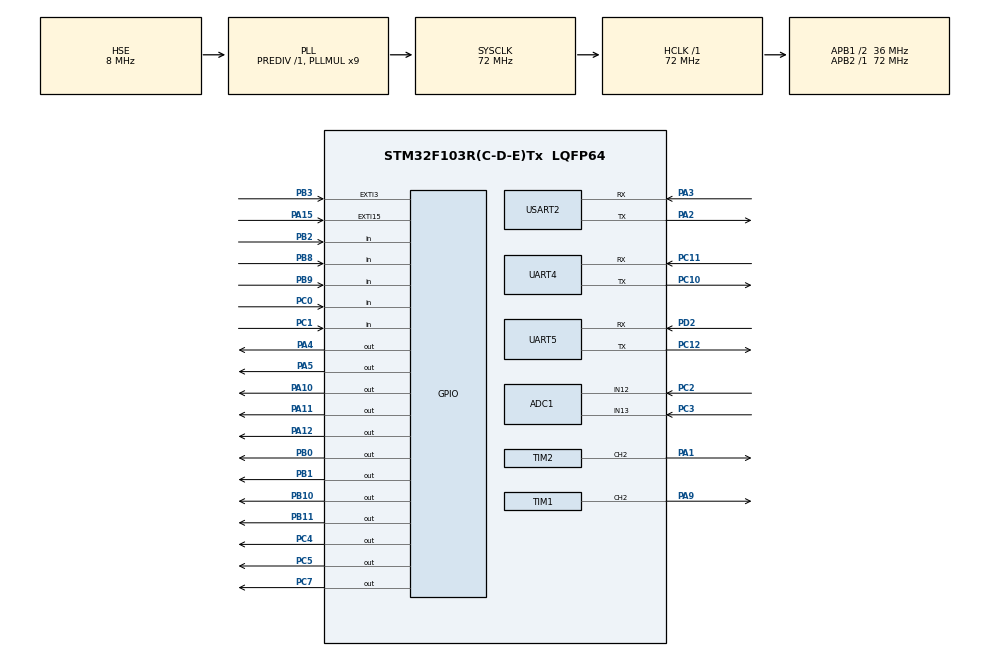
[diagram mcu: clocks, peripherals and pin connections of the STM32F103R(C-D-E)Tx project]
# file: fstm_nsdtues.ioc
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ADC1.Channel-60\#ChannelRegularConversion=ADC_CHANNEL_13
ADC1.Channel-61\#ChannelRegularConversion=ADC_CHANNEL_12
ADC1.ContinuousConvMode=DISABLE
ADC1.DataAlign=ADC_DATAALIGN_RIGHT
ADC1.DiscontinuousConvMode=DISABLE
ADC1.EnableAnalogWatchDog=false
ADC1.EnableRegularConversion=ENABLE
ADC1.ExternalTrigConvEdgeChoice=NONE
ADC1.InjNumberOfConversion=0
ADC1.NbrOfConversion=2
ADC1.NbrOfConversionFlag=1
ADC1.Rank-60\#ChannelRegularConversion=1
ADC1.Rank-61\#ChannelRegularConversion=2
ADC1.SamplingTime-60\#ChannelRegularConversion=ADC_SAMPLETIME_71CYCLES_5
ADC1.SamplingTime-61\#ChannelRegularConversion=ADC_SAMPLETIME_71CYCLES_5
ADC1.ScanConvMode=ADC_SCAN_ENABLE
ADC1.master=1
Dma.ADC1.0.Direction=DMA_PERIPH_TO_MEMORY
Dma.ADC1.0.Instance=DMA1_Channel1
Dma.ADC1.0.MemDataAlignment=DMA_MDATAALIGN_WORD
Dma.ADC1.0.MemInc=DMA_MINC_ENABLE
Dma.ADC1.0.Mode=DMA_NORMAL
Dma.ADC1.0.PeriphDataAlignment=DMA_PDATAALIGN_WORD
Dma.ADC1.0.PeriphInc=DMA_PINC_DISABLE
Dma.ADC1.0.Priority=DMA_PRIORITY_HIGH
Dma.Request0=ADC1
Mcu.Family=STM32F1
Mcu.Name=STM32F103R(C-D-E)Tx
Mcu.Package=LQFP64
NVIC.DMA1_Channel1_IRQn=true\:0\:0\:false\:false\:true
NVIC.EXTI15_10_IRQn=true\:0\:0\:false\:false\:true
NVIC.EXTI3_IRQn=true\:0\:0\:false\:false\:true
NVIC.PriorityGroup=NVIC_PRIORITYGROUP_4
NVIC.TIM2_IRQn=true\:0\:0\:false\:false\:true
NVIC.UART4_IRQn=true\:0\:0\:false\:false\:true
NVIC.UART5_IRQn=true\:0\:0\:false\:false\:true
NVIC.USART2_IRQn=true\:0\:0\:false\:false\:true
PA1.Signal=S_TIM2_CH2
PA10.Signal=GPIO_Output
PA11.Signal=GPIO_Output
PA12.Signal=GPIO_Output
PA13.Mode=Serial_Wire
PA13.Signal=SYS_JTMS-SWDIO
PA14.Mode=Serial_Wire
PA14.Signal=SYS_JTCK-SWCLK
PA15.GPIO_ModeDefaultEXTI=GPIO_MODE_IT_FALLING
PA15.Signal=GPXTI15
PA2.Mode=Asynchronous
PA2.Signal=USART2_TX
PA3.Mode=Asynchronous
PA3.Signal=USART2_RX
PA4.Signal=GPIO_Output
PA5.Signal=GPIO_Output
PA9.Signal=S_TIM1_CH2
PB0.Signal=GPIO_Output
PB1.Signal=GPIO_Output
PB10.Signal=GPIO_Output
PB11.Signal=GPIO_Output
PB2.Signal=GPIO_Input
PB3.GPIO_ModeDefaultEXTI=GPIO_MODE_IT_FALLING
PB3.Signal=GPXTI3
PB8.GPIO_PuPd=GPIO_PULLUP
PB8.Signal=GPIO_Input
PB9.GPIO_PuPd=GPIO_PULLUP
PB9.Signal=GPIO_Input
PC0.Signal=GPIO_Input
PC1.Signal=GPIO_Input
PC10.Mode=Asynchronous
PC10.Signal=UART4_TX
PC11.Mode=Asynchronous
PC11.Signal=UART4_RX
PC12.Mode=Asynchronous
PC12.Signal=UART5_TX
PC2.Signal=ADCx_IN12
PC3.Signal=ADCx_IN13
PC4.Signal=GPIO_Output
PC5.Signal=GPIO_Output
PC7.Signal=GPIO_Output
PD0-OSC_IN.Mode=HSE-External-Oscillator
PD0-OSC_IN.Signal=RCC_OSC_IN
PD1-OSC_OUT.Mode=HSE-External-Oscillator
PD1-OSC_OUT.Signal=RCC_OSC_OUT
PD2.Mode=Asynchronous
PD2.Signal=UART5_RX
ProjectManager.HeapSize=0x200
ProjectManager.StackSize=0x400
ProjectManager.TargetToolchain=MDK-ARM V5
RCC.ADCPresc=RCC_ADCPCLK2_DIV6
RCC.AHBFreq_Value=72000000
RCC.APB1CLKDivider=RCC_HCLK_DIV2
RCC.APB1Freq_Value=36000000
RCC.APB1TimFreq_Value=72000000
RCC.APB2Freq_Value=72000000
RCC.APB2TimFreq_Value=72000000
RCC.HCLKFreq_Value=72000000
RCC.HSIState=RCC_HSI_ON
RCC.PLLMUL=RCC_PLL_MUL9
RCC.PLLSourceVirtual=RCC_PLLSOURCE_HSE
RCC.SYSCLKFreq_VALUE=72000000
RCC.SYSCLKSource=RCC_SYSCLKSOURCE_PLLCLK
RCC.USBFreq_Value=72000000
SH.ADCx_IN12.0=ADC1_IN12,IN12
SH.ADCx_IN13.0=ADC1_IN13,IN13
SH.S_TIM1_CH2.0=TIM1_CH2,PWM Generation2 CH2
SH.S_TIM2_CH2.0=TIM2_CH2,PWM Generation2 CH2
TIM1.Channel-PWM\ Generation2\ CH2=TIM_CHANNEL_2
TIM1.OCMode_PWM-PWM\ Generation2\ CH2=TIM_OCMODE_PWM1
TIM1.Period=4096
TIM1.Prescaler=16
TIM1.Pulse-PWM\ Generation2\ CH2=16
TIM2.Channel-PWM\ Generation2\ CH2=TIM_CHANNEL_2
TIM2.Period=4096
TIM2.Prescaler=16
TIM2.TIM_MasterSlaveMode=TIM_MASTERSLAVEMODE_DISABLE
VP_TIM2_VS_ClockSourceINT.Mode=Internal
board=fstm_nsdtues

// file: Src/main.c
/**
  ******************************************************************************
  * File Name          : main.c
  * Description        : Main program body
  ******************************************************************************
  *
  * COPYRIGHT(c) 2018 STMicroelectronics
  *
  * Redistribution and use in source and binary forms, with or without modification,
  * are permitted provided that the following conditions are met:
  *   1. Redistributions of source code must retain the above copyright notice,
  *      this list of conditions and the following disclaimer.
  *   2. Redistributions in binary form must reproduce the above copyright notice,
  *      this list of conditions and the following disclaimer in the documentation
  *      and/or other materials provided with the distribution.
  *   3. Neither the name of STMicroelectronics nor the names of its contributors
  *      may be used to endorse or promote products derived from this software
  *      without specific prior written permission.
  *
  * THIS SOFTWARE IS PROVIDED BY THE COPYRIGHT HOLDERS AND CONTRIBUTORS "AS IS"
  * AND ANY EXPRESS OR IMPLIED WARRANTIES, INCLUDING, BUT NOT LIMITED TO, THE
  * IMPLIED WARRANTIES OF MERCHANTABILITY AND FITNESS FOR A PARTICULAR PURPOSE ARE
  * DISCLAIMED. IN NO EVENT SHALL THE COPYRIGHT HOLDER OR CONTRIBUTORS BE LIABLE
  * FOR ANY DIRECT, INDIRECT, INCIDENTAL, SPECIAL, EXEMPLARY, OR CONSEQUENTIAL
  * DAMAGES (INCLUDING, BUT NOT LIMITED TO, PROCUREMENT OF SUBSTITUTE GOODS OR
  * SERVICES; LOSS OF USE, DATA, OR PROFITS; OR BUSINESS INTERRUPTION) HOWEVER
  * CAUSED AND ON ANY THEORY OF LIABILITY, WHETHER IN CONTRACT, STRICT LIABILITY,
  * OR TORT (INCLUDING NEGLIGENCE OR OTHERWISE) ARISING IN ANY WAY OUT OF THE USE
  * OF THIS SOFTWARE, EVEN IF ADVISED OF THE POSSIBILITY OF SUCH DAMAGE.
  *
  ******************************************************************************
  */
#include "stm32f1xx_hal.h"

/* USER CODE BEGIN Includes */
#include "cmsis_os.h" // ARM::CMSIS:RTOS:Keil RTX
#include <stdio.h>
#include <string.h>
#include <stdlib.h>
#include "uart-API.h"
#include "uart-line-IO.h"
#include "thread_of_LCM_uart.h"
#include "thread_of_hc05.h"
#include "thread_of_accelnet.h"
#include "HC05.h"
#include "bsp_EEPROM.h"

//#ifndef MOTORPOWER
//#define LI 1
//#define CHANG 2
//#endif

//#define MOTORPOWER LI
/* USER CODE END Includes */

ADC_HandleTypeDef hadc1;
DMA_HandleTypeDef hdma_adc1;

TIM_HandleTypeDef htim1;
TIM_HandleTypeDef htim2;

UART_HandleTypeDef huart4;
UART_HandleTypeDef huart5;
UART_HandleTypeDef huart2;

/* USER CODE BEGIN PV */
/* Private variables ---------------------------------------------------------*/

extern uint32_t ADC_ConvertedValue[2];
/* USER CODE END PV */

void SystemClock_Config(void);
static void MX_GPIO_Init(void);
static void MX_DMA_Init(void);
static void MX_TIM2_Init(void);
static void SystemClock_Config(void);
static void MX_UART5_Init(void);
static void MX_TIM1_Init(void);
static void MX_USART2_UART_Init(void);
static void MX_ADC1_Init(void);
static void MX_UART4_Init(void);

void HAL_TIM_MspPostInit(TIM_HandleTypeDef *htim);

/* USER CODE BEGIN PFP */

//osMailQDef(uart_recv_queue, 5, struct uart_recv_result_t);
//static osMailQId mail_queue_id_for_uart_recv;
/* Private function prototypes -----------------------------------------------*/

/* USER CODE END PFP */

/* USER CODE BEGIN 0 */
extern uint32_t os_time;
uint32_t HAL_GetTick(void) {
	// Add HAL_GetTick function for STM32Cube HAL

return os_time;
}
/* USER CODE END 0 */

int main(void)
{

  /* USER CODE BEGIN 1 */
	osKernelInitialize ();               // Initialize RTOS Kernel for setup
	InitUartIo();

  /* USER CODE END 1 */

  /* MCU Configuration----------------------------------------------------------*/

  /* Reset of all peripherals, Initializes the Flash interface and the Systick. */
  HAL_Init();

  /* Configure the system clock */
  SystemClock_Config();

  /* Initialize all configured peripherals */
  MX_GPIO_Init();
  MX_DMA_Init();
  MX_TIM2_Init();
  SystemClock_Config();
  MX_UART5_Init();
  MX_TIM1_Init();
  MX_USART2_UART_Init();
  MX_ADC1_Init();
  MX_UART4_Init();

  /* USER CODE BEGIN 2 */
	init_thread_of_LCM_uart ();
	init_thread_of_iot_uart ();
//	init_thread_of_hc05 ();
	init_thread_of_accelnet();
	osKernelStart ();                    // Begin thread switching

//	HAL_TIM_Base_Start(&htim2);
//	HAL_TIM_Base_Start(&htim3);
//	HAL_TIM_Base_Start_IT(&htim7);
  HAL_TIM_PWM_Start(&htim1,TIM_CHANNEL_2);
//	HAL_TIM_PWM_Start(&htim1,TIM_CHANNEL_2);
	HAL_ADCEx_Calibration_Start(&hadc1);
//	HAL_ADCEx_Calibration_Start(&hadc2);
  /* USER CODE END 2 */

  /* Infinite loop */
  /* USER CODE BEGIN WHILE */

//	uint8_t buff[16],data[16];
//	uint32_t time,mark;
	HAL_GPIO_WritePin(GPIOB,GPIO_PIN_11,GPIO_PIN_RESET);
	Vacuum_Pump_Reset();
  while (1)
  {
  /* USER CODE END WHILE */

  /* USER CODE BEGIN 3 */
		osDelay(1000);

  }
  /* USER CODE END 3 */

}

/** System Clock Configuration
*/
void SystemClock_Config(void)
{

  RCC_OscInitTypeDef RCC_OscInitStruct;
  RCC_ClkInitTypeDef RCC_ClkInitStruct;
  RCC_PeriphCLKInitTypeDef PeriphClkInit;

  RCC_OscInitStruct.OscillatorType = RCC_OSCILLATORTYPE_HSE;
  RCC_OscInitStruct.HSEState = RCC_HSE_ON;
  RCC_OscInitStruct.HSEPredivValue = RCC_HSE_PREDIV_DIV1;
  RCC_OscInitStruct.PLL.PLLState = RCC_PLL_ON;
  RCC_OscInitStruct.PLL.PLLSource = RCC_PLLSOURCE_HSE;
  RCC_OscInitStruct.PLL.PLLMUL = RCC_PLL_MUL9;
  HAL_RCC_OscConfig(&RCC_OscInitStruct);

  RCC_ClkInitStruct.ClockType = RCC_CLOCKTYPE_HCLK|RCC_CLOCKTYPE_SYSCLK
                              |RCC_CLOCKTYPE_PCLK1|RCC_CLOCKTYPE_PCLK2;
  RCC_ClkInitStruct.SYSCLKSource = RCC_SYSCLKSOURCE_PLLCLK;
  RCC_ClkInitStruct.AHBCLKDivider = RCC_SYSCLK_DIV1;
  RCC_ClkInitStruct.APB1CLKDivider = RCC_HCLK_DIV2;
  RCC_ClkInitStruct.APB2CLKDivider = RCC_HCLK_DIV1;
  HAL_RCC_ClockConfig(&RCC_ClkInitStruct, FLASH_LATENCY_2);

  PeriphClkInit.PeriphClockSelection = RCC_PERIPHCLK_ADC;
  PeriphClkInit.AdcClockSelection = RCC_ADCPCLK2_DIV6;
  HAL_RCCEx_PeriphCLKConfig(&PeriphClkInit);

  HAL_SYSTICK_Config(HAL_RCC_GetHCLKFreq()/1000);

  HAL_SYSTICK_CLKSourceConfig(SYSTICK_CLKSOURCE_HCLK);

  /* SysTick_IRQn interrupt configuration */
  HAL_NVIC_SetPriority(SysTick_IRQn, 0, 0);
}

/* ADC1 init function */
void MX_ADC1_Init(void)
{

  ADC_ChannelConfTypeDef sConfig;

    /**Common config
    */
  hadc1.Instance = ADC1;
  hadc1.Init.ScanConvMode = ADC_SCAN_ENABLE;
  hadc1.Init.ContinuousConvMode = DISABLE;
  hadc1.Init.DiscontinuousConvMode = DISABLE;
  hadc1.Init.ExternalTrigConv = ADC_SOFTWARE_START;
  hadc1.Init.DataAlign = ADC_DATAALIGN_RIGHT;
  hadc1.Init.NbrOfConversion = 2;
  HAL_ADC_Init(&hadc1);

    /**Configure Regular Channel
    */
  sConfig.Channel = ADC_CHANNEL_13;
  sConfig.Rank = 1;
  sConfig.SamplingTime = ADC_SAMPLETIME_71CYCLES_5;
  HAL_ADC_ConfigChannel(&hadc1, &sConfig);

    /**Configure Regular Channel
    */
  sConfig.Channel = ADC_CHANNEL_12;
  sConfig.Rank = 2;
  HAL_ADC_ConfigChannel(&hadc1, &sConfig);

}

/* TIM1 init function */
void MX_TIM1_Init(void)
{

  TIM_MasterConfigTypeDef sMasterConfig;
  TIM_BreakDeadTimeConfigTypeDef sBreakDeadTimeConfig;
  TIM_OC_InitTypeDef sConfigOC;

  htim1.Instance = TIM1;
  htim1.Init.Prescaler = 16;
  htim1.Init.CounterMode = TIM_COUNTERMODE_UP;
  htim1.Init.Period = 4096;
  htim1.Init.ClockDivision = TIM_CLOCKDIVISION_DIV1;
  htim1.Init.RepetitionCounter = 0;
  HAL_TIM_PWM_Init(&htim1);

  sMasterConfig.MasterOutputTrigger = TIM_TRGO_RESET;
  sMasterConfig.MasterSlaveMode = TIM_MASTERSLAVEMODE_DISABLE;
  HAL_TIMEx_MasterConfigSynchronization(&htim1, &sMasterConfig);

  sBreakDeadTimeConfig.OffStateRunMode = TIM_OSSR_DISABLE;
  sBreakDeadTimeConfig.OffStateIDLEMode = TIM_OSSI_DISABLE;
  sBreakDeadTimeConfig.LockLevel = TIM_LOCKLEVEL_OFF;
  sBreakDeadTimeConfig.DeadTime = 0;
  sBreakDeadTimeConfig.BreakState = TIM_BREAK_DISABLE;
  sBreakDeadTimeConfig.BreakPolarity = TIM_BREAKPOLARITY_HIGH;
  sBreakDeadTimeConfig.AutomaticOutput = TIM_AUTOMATICOUTPUT_DISABLE;
  HAL_TIMEx_ConfigBreakDeadTime(&htim1, &sBreakDeadTimeConfig);

  sConfigOC.OCMode = TIM_OCMODE_PWM1;
  sConfigOC.Pulse = 16;
  sConfigOC.OCPolarity = TIM_OCPOLARITY_HIGH;
  sConfigOC.OCNPolarity = TIM_OCNPOLARITY_HIGH;
  sConfigOC.OCFastMode = TIM_OCFAST_DISABLE;
  sConfigOC.OCIdleState = TIM_OCIDLESTATE_RESET;
  sConfigOC.OCNIdleState = TIM_OCNIDLESTATE_RESET;
  HAL_TIM_PWM_ConfigChannel(&htim1, &sConfigOC, TIM_CHANNEL_2);

  HAL_TIM_MspPostInit(&htim1);

}

/* TIM2 init function */
void MX_TIM2_Init(void)
{

  TIM_ClockConfigTypeDef sClockSourceConfig;
  TIM_MasterConfigTypeDef sMasterConfig;
  TIM_OC_InitTypeDef sConfigOC;

  htim2.Instance = TIM2;
  htim2.Init.Prescaler = 16;
  htim2.Init.CounterMode = TIM_COUNTERMODE_UP;
  htim2.Init.Period = 4096;
  htim2.Init.ClockDivision = TIM_CLOCKDIVISION_DIV1;
  HAL_TIM_Base_Init(&htim2);

  sClockSourceConfig.ClockSource = TIM_CLOCKSOURCE_INTERNAL;
  HAL_TIM_ConfigClockSource(&htim2, &sClockSourceConfig);

  HAL_TIM_PWM_Init(&htim2);

  sMasterConfig.MasterOutputTrigger = TIM_TRGO_RESET;
  sMasterConfig.MasterSlaveMode = TIM_MASTERSLAVEMODE_DISABLE;
  HAL_TIMEx_MasterConfigSynchronization(&htim2, &sMasterConfig);

  sConfigOC.OCMode = TIM_OCMODE_PWM1;
  sConfigOC.Pulse = 0;
  sConfigOC.OCPolarity = TIM_OCPOLARITY_HIGH;
  sConfigOC.OCFastMode = TIM_OCFAST_DISABLE;
  HAL_TIM_PWM_ConfigChannel(&htim2, &sConfigOC, TIM_CHANNEL_2);

  HAL_TIM_MspPostInit(&htim2);

}

/* UART4 init function */
void MX_UART4_Init(void)
{

  huart4.Instance = UART4;
  huart4.Init.BaudRate = 115200;
  huart4.Init.WordLength = UART_WORDLENGTH_8B;
  huart4.Init.StopBits = UART_STOPBITS_1;
  huart4.Init.Parity = UART_PARITY_NONE;
  huart4.Init.Mode = UART_MODE_TX_RX;
  huart4.Init.HwFlowCtl = UART_HWCONTROL_NONE;
  huart4.Init.OverSampling = UART_OVERSAMPLING_16;
  HAL_UART_Init(&huart4);

}

/* UART5 init function */
void MX_UART5_Init(void)
{

  huart5.Instance = UART5;
  huart5.Init.BaudRate = 115200;
  huart5.Init.WordLength = UART_WORDLENGTH_8B;
  huart5.Init.StopBits = UART_STOPBITS_1;
  huart5.Init.Parity = UART_PARITY_NONE;
  huart5.Init.Mode = UART_MODE_TX_RX;
  huart5.Init.HwFlowCtl = UART_HWCONTROL_NONE;
  huart5.Init.OverSampling = UART_OVERSAMPLING_16;
  HAL_UART_Init(&huart5);

}

/* USART2 init function */
void MX_USART2_UART_Init(void)
{

  huart2.Instance = USART2;
  huart2.Init.BaudRate = 115200;
  huart2.Init.WordLength = UART_WORDLENGTH_8B;
  huart2.Init.StopBits = UART_STOPBITS_1;
  huart2.Init.Parity = UART_PARITY_NONE;
  huart2.Init.Mode = UART_MODE_TX_RX;
  huart2.Init.HwFlowCtl = UART_HWCONTROL_NONE;
  huart2.Init.OverSampling = UART_OVERSAMPLING_16;
  HAL_UART_Init(&huart2);

}

void MX_DMA_Init(void)
{
  /* DMA controller clock enable */
  __HAL_RCC_DMA1_CLK_ENABLE();

  /* DMA interrupt init */
  /* DMA1_Channel1_IRQn interrupt configuration */
  HAL_NVIC_SetPriority(DMA1_Channel1_IRQn, 0, 0);
  HAL_NVIC_EnableIRQ(DMA1_Channel1_IRQn);

}

/** Configure pins as
        * Analog
        * Input
        * Output
        * EVENT_OUT
        * EXTI
*/
void MX_GPIO_Init(void)
{

  GPIO_InitTypeDef GPIO_InitStruct;

  /* GPIO Ports Clock Enable */
  __HAL_RCC_GPIOD_CLK_ENABLE();
  __HAL_RCC_GPIOC_CLK_ENABLE();
  __HAL_RCC_GPIOA_CLK_ENABLE();
  __HAL_RCC_GPIOB_CLK_ENABLE();

  /*Configure GPIO pins : PC0 PC1 */
  GPIO_InitStruct.Pin = GPIO_PIN_0|GPIO_PIN_1;
  GPIO_InitStruct.Mode = GPIO_MODE_INPUT;
  GPIO_InitStruct.Pull = GPIO_NOPULL;
  HAL_GPIO_Init(GPIOC, &GPIO_InitStruct);

  /*Configure GPIO pins : PA4 PA5 PA10 PA11
                           PA12 */
  GPIO_InitStruct.Pin = GPIO_PIN_4|GPIO_PIN_5|GPIO_PIN_10|GPIO_PIN_11
                          |GPIO_PIN_12;
  GPIO_InitStruct.Mode = GPIO_MODE_OUTPUT_PP;
  GPIO_InitStruct.Speed = GPIO_SPEED_FREQ_LOW;
  HAL_GPIO_Init(GPIOA, &GPIO_InitStruct);

  /*Configure GPIO pins : PC4 PC5 PC7 */
  GPIO_InitStruct.Pin = GPIO_PIN_4|GPIO_PIN_5|GPIO_PIN_7;
  GPIO_InitStruct.Mode = GPIO_MODE_OUTPUT_PP;
  GPIO_InitStruct.Speed = GPIO_SPEED_FREQ_LOW;
  HAL_GPIO_Init(GPIOC, &GPIO_InitStruct);

  /*Configure GPIO pins : PB0 PB1 PB10 PB11 */
  GPIO_InitStruct.Pin = GPIO_PIN_0|GPIO_PIN_1|GPIO_PIN_10|GPIO_PIN_11;
  GPIO_InitStruct.Mode = GPIO_MODE_OUTPUT_PP;
  GPIO_InitStruct.Speed = GPIO_SPEED_FREQ_LOW;
  HAL_GPIO_Init(GPIOB, &GPIO_InitStruct);

  /*Configure GPIO pin : PB2 */
  GPIO_InitStruct.Pin = GPIO_PIN_2;
  GPIO_InitStruct.Mode = GPIO_MODE_INPUT;
  GPIO_InitStruct.Pull = GPIO_NOPULL;
  HAL_GPIO_Init(GPIOB, &GPIO_InitStruct);

  /*Configure GPIO pin : PA15 */
  GPIO_InitStruct.Pin = GPIO_PIN_15;
  GPIO_InitStruct.Mode = GPIO_MODE_IT_FALLING;
  GPIO_InitStruct.Pull = GPIO_NOPULL;
  HAL_GPIO_Init(GPIOA, &GPIO_InitStruct);

  /*Configure GPIO pin : PB3 */
  GPIO_InitStruct.Pin = GPIO_PIN_3;
  GPIO_InitStruct.Mode = GPIO_MODE_IT_FALLING;
  GPIO_InitStruct.Pull = GPIO_NOPULL;
  HAL_GPIO_Init(GPIOB, &GPIO_InitStruct);

  /*Configure GPIO pins : PB8 PB9 */
  GPIO_InitStruct.Pin = GPIO_PIN_8|GPIO_PIN_9;
  GPIO_InitStruct.Mode = GPIO_MODE_INPUT;
  GPIO_InitStruct.Pull = GPIO_PULLUP;
  HAL_GPIO_Init(GPIOB, &GPIO_InitStruct);

  /*Configure GPIO pin Output Level */
  HAL_GPIO_WritePin(GPIOA, GPIO_PIN_4|GPIO_PIN_5|GPIO_PIN_10|GPIO_PIN_11
                          |GPIO_PIN_12, GPIO_PIN_RESET);

  /*Configure GPIO pin Output Level */
  HAL_GPIO_WritePin(GPIOC, GPIO_PIN_4|GPIO_PIN_5|GPIO_PIN_7, GPIO_PIN_RESET);

  /*Configure GPIO pin Output Level */
  HAL_GPIO_WritePin(GPIOB, GPIO_PIN_0|GPIO_PIN_1|GPIO_PIN_10|GPIO_PIN_11, GPIO_PIN_RESET);

  /* EXTI interrupt init*/
  HAL_NVIC_SetPriority(EXTI3_IRQn, 0, 0);
  HAL_NVIC_EnableIRQ(EXTI3_IRQn);

  HAL_NVIC_SetPriority(EXTI15_10_IRQn, 0, 0);
  HAL_NVIC_EnableIRQ(EXTI15_10_IRQn);

}

/* USER CODE BEGIN 4 */
/**
  * 函数功能: 停机唤醒后配置系统时钟: 使能 HSE, PLL
  *           并且选择PLL作为系统时钟.
  * 输入参数: 无
  * 返 回 值: 无
  * 说    明: 无
  */
void SYSCLKConfig_STOP(void)
{
  /* 使能 HSE */
  __HAL_RCC_HSE_CONFIG(RCC_HSE_ON);

  /* 等待 HSE 准备就绪 */
  while(__HAL_RCC_GET_FLAG(RCC_FLAG_HSERDY) == RESET);

  /* 使能 PLL */
  __HAL_RCC_PLL_ENABLE();

  /* 等待 PLL 准备就绪 */
  while(__HAL_RCC_GET_FLAG(RCC_FLAG_PLLRDY) == RESET)
  {
  }

  /* 选择PLL作为系统时钟源 */
  __HAL_RCC_SYSCLK_CONFIG(RCC_SYSCLKSOURCE_PLLCLK);

  /* 等待PLL被选择为系统时钟源 */
  while(__HAL_RCC_GET_SYSCLK_SOURCE() != 0x08)
  {
  }
}

/**
  * 函数功能: 重定向c库函数printf到DEBUG_USARTx
  * 输入参数: 无
  * 返 回 值: 无
  * 说    明：无
  */
//int fputc(int ch, FILE *f)
//{
//  HAL_UART_Transmit(&huart1, (uint8_t *)&ch, 1, 0xffff);
////	SendDataToUart(4,(uint8_t *)&ch,1,0xffff);
//  return ch;
//}

/**
  * 函数功能: 重定向c库函数getchar,scanf到DEBUG_USARTx
  * 输入参数: 无
  * 返 回 值: 无
  * 说    明：无
  */
//int fgetc(FILE * f)
//{
//  uint8_t ch = 0;
//  HAL_UART_Receive(&huart1,&ch, 1, 0xffff);
//  return ch;
//}

////简单的延时函数
//static void Delay(__IO uint32_t nCount)
//{
//	for(; nCount != 0; nCount--);
//}

//uint32_t time_now,time_mark,time_high;
//void HAL_GPIO_EXTI_Callback(uint16_t GPIO_Pin)
//{
//	if(GPIO_Pin == GPIO_PIN_4)
//	{
//		SYSCLKConfig_STOP();											//停机唤醒后需要启动HSE
//		HAL_GPIO_WritePin(GPIOC,GPIO_PIN_6,GPIO_PIN_SET);
//		HAL_GPIO_WritePin(GPIOB,GPIO_PIN_14,GPIO_PIN_SET);
//		HAL_GPIO_WritePin(GPIOB,GPIO_PIN_15,GPIO_PIN_SET);
//		Delay(0x7FFFFF);
//		HAL_GPIO_WritePin(GPIOC,GPIO_PIN_6,GPIO_PIN_RESET);
//		HAL_GPIO_WritePin(GPIOB,GPIO_PIN_14,GPIO_PIN_RESET);
//		HAL_GPIO_WritePin(GPIOB,GPIO_PIN_15,GPIO_PIN_RESET);
//		printf("\n 退出中断 \n");
//		__HAL_GPIO_EXTI_CLEAR_IT(GPIO_PIN_4);
//	}
//}

/* USER CODE END 4 */

/************************ (C) COPYRIGHT STMicroelectronics *****END OF FILE****/
